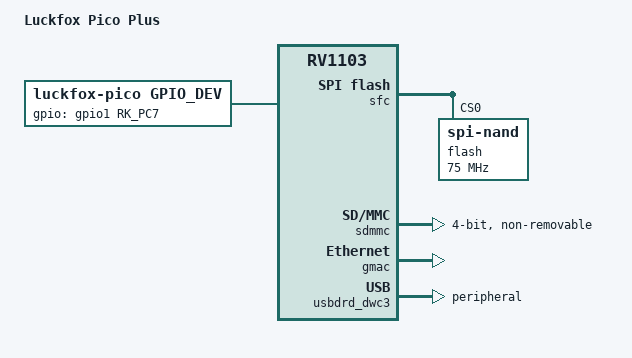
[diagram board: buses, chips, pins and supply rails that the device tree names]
// SPDX-License-Identifier: (GPL-2.0+ OR MIT)
/*
 * Copyright (c) 2022 Rockchip Electronics Co., Ltd.
 */

/dts-v1/;

#include "rv1103.dtsi"
#include "rv1106-evb.dtsi"
#include "rv1103-luckfox-pico-ipc.dtsi"

/ {
	model = "Luckfox Pico Plus";
	compatible = "rockchip,rv1103g-38x38-ipc-v10", "rockchip,rv1103";
};

/**********SFC**********/
&sfc {
	status = "okay";
	flash@0 {
		compatible = "spi-nand";
		reg = <0>;
		spi-max-frequency = <75000000>;
		spi-rx-bus-width = <4>;
		spi-tx-bus-width = <1>;
	};
};

/**********SDMMC**********/
&sdmmc {
	max-frequency = <50000000>;
	no-mmc;
	bus-width = <4>;
	cap-mmc-highspeed;
	cap-sd-highspeed;
	disable-wp;

	//sdio
	cap-sdio-irq;
	non-removable;
	no-1-8-v;
	supports-sdio;

	pinctrl-names = "default";
	pinctrl-0 = <&sdmmc0_clk &sdmmc0_cmd &sdmmc0_det &sdmmc0_bus4>;
	status = "okay";
};

/**********ETH**********/
&gmac {
	status = "okay";
};

/**********USB**********/
&usbdrd_dwc3 {
	status = "okay";
	dr_mode = "peripheral";
};

/**********SPI**********/
/* SPI0_M0 */
&spi0 {
	status = "disabled";
	spidev@0 {
		spi-max-frequency = <50000000>;
	};
	fbtft@0 {
		spi-max-frequency = <50000000>;
	};
};

/**********I2C**********/
/* I2C3_M1 */
&i2c3 {
	status = "disabled";
	clock-frequency = <100000>;
};

/* I2C0_M2 */
&i2c0 {
	status = "disabled";
	clock-frequency = <100000>;
};

/**********UART**********/
/* UART3_M1 */
&uart3 {
	status = "disabled";
};

/* UART4_M1 */
&uart4 {
	status = "disabled";
};

/**********PWM**********/
/* PWM1_M0 */
&pwm1 {
	status = "disabled";
};

/* GPIO 节点 */
/ {
	gpio_dev {
	compatible = "luckfox-pico,gpio_dev";

	gpios = <&gpio1 RK_PC7 GPIO_ACTIVE_HIGH>;

	/* 与 echo 命令一致 */
	gpio-names = "GPIO1_C7";

	/* 使用 "硬件名-模式" */
	pinctrl-names = "default",
			"GPIO1_C7-up",
			"GPIO1_C7-down",
			"GPIO1_C7-none";

	/* 默认状态 */
	pinctrl-0 = <&gdev_c7>;

	/* 对应上拉/下拉/无状态 */
	pinctrl-1 = <&gdev_c7_up>;
	pinctrl-2 = <&gdev_c7_down>;
	pinctrl-3 = <&gdev_c7>;

	status = "okay";
	};
};

&pinctrl {
	/* 第一级是 function 节点（与 rv1106-pinctrl.dtsi 的两级结构一致） */
	gdev {
		gdev_c7: gdev-c7 {
			rockchip,pins = <1 RK_PC7 RK_FUNC_GPIO &pcfg_pull_none>;
		};
		gdev_c7_up: gdev-c7-up {
			rockchip,pins = <1 RK_PC7 RK_FUNC_GPIO &pcfg_pull_up>;
		};
		gdev_c7_down: gdev-c7-down {
			rockchip,pins = <1 RK_PC7 RK_FUNC_GPIO &pcfg_pull_down>;
		};
	};
};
